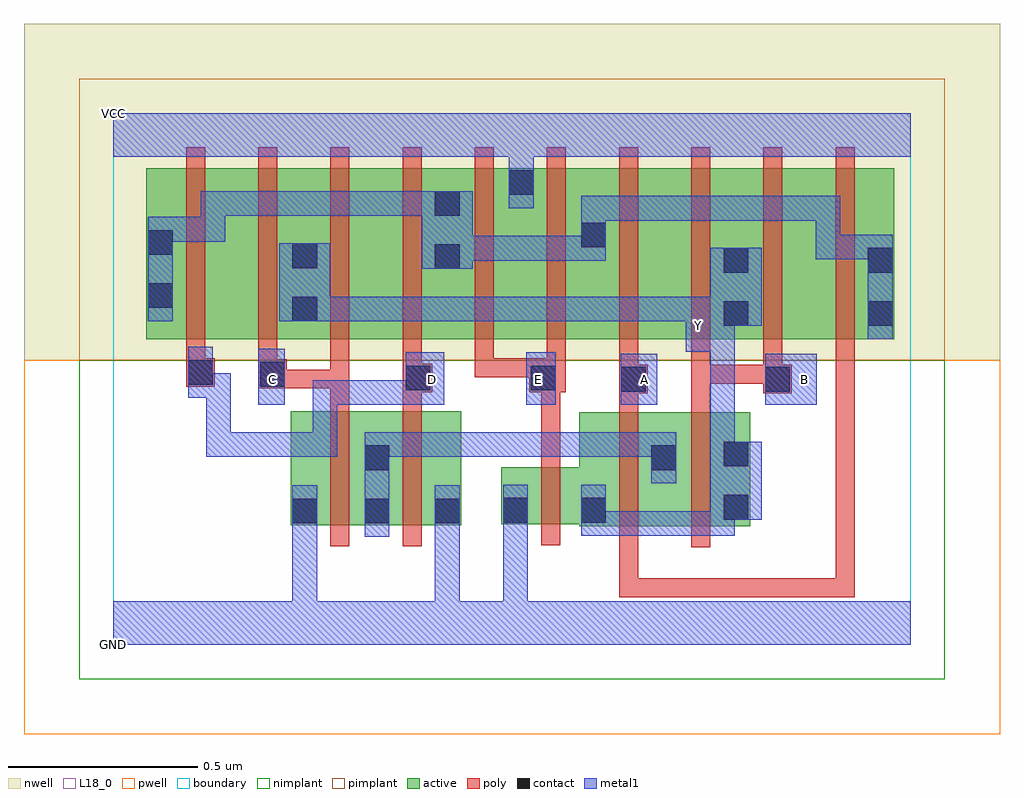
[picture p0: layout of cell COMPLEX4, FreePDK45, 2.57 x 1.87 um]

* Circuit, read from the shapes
.subckt COMPLEX4 A B C D E GND VCC Y
M1 n1 C GND VSUBS nfet w=0.3u l=0.05u
M2 GND D n1 VSUBS nfet w=0.3u l=0.05u
M3 Y E GND VSUBS nfet w=0.15u l=0.05u
M4 n1 A Y VSUBS nfet w=0.3u l=0.05u
M5 Y B n1 VSUBS nfet w=0.3u l=0.05u
M6 n2 D n3 n4 pfet w=0.45u l=0.05u
M7 Y C n2 n4 pfet w=0.45u l=0.05u
M8 n5 C Y n4 pfet w=0.45u l=0.05u
M9 n3 D n5 n4 pfet w=0.45u l=0.05u
M10 VCC E n3 n4 pfet w=0.45u l=0.05u m=2
M11 n6 A n3 n4 pfet w=0.45u l=0.05u
M12 Y B n6 n4 pfet w=0.45u l=0.05u
M13 n7 B Y n4 pfet w=0.45u l=0.05u
M14 n3 A n7 n4 pfet w=0.45u l=0.05u
.ends

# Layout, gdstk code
import gdstk
lib = gdstk.Library(unit=1e-6, precision=1e-09)
def R(c, l, rs):  # rectangles x0, y0, x1, y1
    for r in rs: c.add(gdstk.rectangle(r[:2], r[2:], *l))
def A(c, l, x, y, w, h, nx, ny, dx, dy):  # array of equal rectangles
    R(c, l, [(x+i*dx, y+j*dy, x+i*dx+w, y+j*dy+h) for i in range(nx) for j in range(ny)])
active = (1, 0)
pwell = (2, 0)
nwell = (3, 0)
nimplant = (4, 0)
pimplant = (5, 0)
poly = (9, 0)
contact = (10, 0)
metal1 = (11, 0)
L18_0 = (18, 0)
boundary = (235, 0)

complex4 = lib.new_cell('COMPLEX4')
R(complex4, active, [(1.227,0.312,1.487,0.612), (1.227,0.312,1.302,0.392), (1.412,0.312,1.677,0.612), (1.602,0.312,1.677,0.612), (0.467,0.315,0.542,0.615), (0.467,0.315,0.732,0.615), (0.657,0.315,0.917,0.615), (0.657,0.315,0.732,0.53), (0.842,0.315,0.917,0.547), (1.022,0.317,1.302,0.467), (1.022,0.317,1.097,0.392), (1.412,0.382,1.487,0.53), (0.087,0.805,0.312,1.255), (0.087,0.805,0.192,1.2), (0.312,0.805,0.542,1.255), (0.467,0.805,0.692,1.255), (0.467,0.805,0.542,1.07), (0.692,0.805,0.917,1.255), (0.842,0.805,1.112,1.255), (1.037,0.805,1.302,1.255), (1.227,0.805,1.452,1.255), (1.452,0.805,1.677,1.255), (1.602,0.805,1.832,1.255), (1.602,0.805,1.677,1.07), (1.832,0.805,2.057,1.255), (1.982,0.805,2.057,1.2), (1.227,0.817,1.302,1.2), (0.842,0.857,0.917,1.2), (1.037,0.857,1.112,1.255)])
R(complex4, pwell, [(-0.235,-0.235,2.335,0.75)])
R(complex4, nwell, [(-0.235,0.75,2.335,1.635)])
R(complex4, nimplant, [(-0.09,-0.09,2.19,0.75)])
R(complex4, pimplant, [(-0.09,0.75,2.19,1.49)])
A(complex4, poly, 1.332, 0.687, 0.05, 0.113, 3, 1, 0.19, 0)
A(complex4, poly, 0.192, 0.75, 0.05, 0.56, 10, 1, 0.19, 0)
R(complex4, poly, [(1.332,0.125,1.382,0.175), (1.332,0.125,1.382,0.175), (1.332,0.125,1.382,0.175), (1.332,0.125,1.63,0.175), (1.332,0.125,1.382,0.307), (1.58,0.125,1.63,0.175), (1.58,0.125,1.63,0.175), (1.58,0.125,1.63,0.175), (1.58,0.125,1.82,0.175), (1.77,0.125,1.82,0.175), (1.77,0.125,1.82,0.175), (1.77,0.125,1.82,0.175), (1.77,0.125,1.82,0.175), (1.77,0.125,1.82,0.175), (1.77,0.125,1.952,0.175), (1.902,0.125,1.952,0.8), (1.902,0.125,1.952,0.175), (1.902,0.125,1.952,0.175), (1.902,0.125,1.952,0.175), (1.902,0.125,1.952,0.175), (1.902,0.125,1.952,0.175), (1.902,0.125,1.952,0.175), (1.902,0.125,1.952,0.175), (1.332,0.257,1.382,0.667), (1.522,0.257,1.572,0.667), (0.572,0.26,0.622,0.67), (0.762,0.26,0.812,0.67), (1.127,0.262,1.177,0.522), (1.127,0.472,1.177,0.715), (1.332,0.617,1.382,0.712), (1.522,0.617,1.572,0.737), (0.572,0.62,0.622,0.725), (0.762,0.62,0.812,0.715), (1.332,0.662,1.407,0.737), (1.712,0.662,1.787,0.737), (0.762,0.665,0.84,0.74), (1.095,0.665,1.192,0.755), (0.382,0.675,0.457,0.752), (0.407,0.675,0.622,0.725), (0.572,0.675,0.622,0.725), (0.572,0.675,0.622,0.725), (0.572,0.675,0.622,0.725), (0.572,0.675,0.622,0.8), (0.192,0.68,0.267,0.755), (1.522,0.687,1.572,0.737), (1.522,0.687,1.572,0.737), (1.522,0.687,1.572,0.737), (1.522,0.687,1.762,0.737), (0.762,0.69,0.812,0.8), (0.382,0.702,0.432,0.8), (0.192,0.705,0.242,0.8), (0.952,0.705,1.002,0.755), (0.952,0.705,1.002,0.755), (0.952,0.705,1.002,0.755), (0.952,0.705,1.002,0.8), (0.952,0.705,1.145,0.755), (1.142,0.705,1.192,0.8)])
R(complex4, contact, [(0.472,0.32,0.537,0.385), (0.662,0.32,0.727,0.385), (0.847,0.32,0.912,0.385), (1.027,0.322,1.092,0.387), (1.232,0.322,1.297,0.387), (1.607,0.33,1.672,0.395), (0.662,0.46,0.727,0.525), (1.417,0.46,1.482,0.525), (1.607,0.47,1.672,0.535), (1.337,0.667,1.402,0.732), (1.717,0.667,1.782,0.732), (0.77,0.67,0.835,0.735), (1.1,0.67,1.165,0.735), (0.387,0.68,0.452,0.745), (0.197,0.685,0.262,0.75), (1.607,0.84,1.672,0.905), (1.987,0.84,2.052,0.905), (0.472,0.852,0.537,0.917), (0.092,0.887,0.157,0.952), (1.607,0.98,1.672,1.045), (1.987,0.98,2.052,1.045), (0.847,0.99,0.912,1.055), (0.472,0.992,0.537,1.057), (0.092,1.027,0.157,1.092), (1.232,1.047,1.297,1.112), (0.847,1.13,0.912,1.195), (1.042,1.185,1.107,1.25)])
R(complex4, metal1, [(0,0,2.1,0.115), (0.472,0.05,0.537,0.35), (0.847,0.05,0.912,0.35), (1.027,0.05,1.092,0.115), (1.027,0.05,1.092,0.115), (1.027,0.05,1.092,0.352), (0.472,0.285,0.537,0.35), (0.472,0.285,0.537,0.35), (0.472,0.285,0.537,0.35), (0.472,0.285,0.537,0.35), (0.472,0.285,0.537,0.42), (0.662,0.285,0.727,0.56), (0.847,0.285,0.912,0.35), (0.847,0.285,0.912,0.35), (0.847,0.285,0.912,0.35), (0.847,0.285,0.912,0.35), (0.847,0.285,0.912,0.42), (1.027,0.287,1.092,0.352), (1.027,0.287,1.092,0.352), (1.027,0.287,1.092,0.352), (1.027,0.287,1.092,0.352), (1.027,0.287,1.092,0.422), (1.232,0.287,1.297,0.352), (1.232,0.287,1.297,0.352), (1.232,0.287,1.435,0.352), (1.232,0.287,1.297,0.422), (1.37,0.287,1.435,0.352), (1.37,0.287,1.637,0.352), (1.572,0.287,1.637,0.352), (1.572,0.287,1.637,0.352), (1.572,0.287,1.637,0.352), (1.572,0.287,1.637,0.395), (1.572,0.33,1.707,0.535), (1.417,0.425,1.482,0.56), (1.572,0.47,1.637,0.837), (0.245,0.495,0.31,0.56), (0.245,0.495,0.452,0.56), (0.245,0.495,0.31,0.715), (0.387,0.495,0.452,0.56), (0.387,0.495,0.59,0.56), (0.525,0.495,0.59,0.56), (0.525,0.495,0.59,0.697), (0.662,0.495,0.727,0.56), (0.662,0.495,0.727,0.56), (0.662,0.495,0.947,0.56), (0.882,0.495,0.947,0.56), (0.882,0.495,0.947,0.56), (0.882,0.495,0.947,0.56), (0.882,0.495,1.085,0.56), (1.02,0.495,1.085,0.56), (1.02,0.495,1.085,0.56), (1.02,0.495,1.085,0.56), (1.02,0.495,1.297,0.56), (1.232,0.495,1.297,0.56), (1.232,0.495,1.297,0.56), (1.232,0.495,1.297,0.56), (1.232,0.495,1.482,0.56), (0.382,0.632,0.452,0.78), (0.525,0.632,0.59,0.697), (0.525,0.632,0.59,0.697), (0.525,0.632,0.59,0.697), (0.525,0.632,0.727,0.697), (0.662,0.632,0.727,0.697), (0.662,0.632,0.835,0.697), (0.77,0.632,0.872,0.77), (1.087,0.632,1.165,0.77), (1.337,0.632,1.432,0.767), (1.717,0.632,1.852,0.767), (0.197,0.65,0.262,0.785), (0.197,0.65,0.31,0.715), (0.245,0.65,0.31,0.715), (1.507,0.772,1.637,0.907), (1.987,0.805,2.052,1.08), (1.572,0.84,1.637,0.905), (1.572,0.84,1.707,1.045), (0.092,0.852,0.157,1.127), (0.437,0.852,0.572,1.057), (0.507,0.852,0.59,0.917), (0.525,0.852,0.59,0.917), (0.525,0.852,0.727,0.917), (0.662,0.852,0.727,0.917), (0.662,0.852,0.81,0.917), (0.745,0.852,0.81,0.917), (0.745,0.852,0.947,0.917), (0.882,0.852,0.947,0.917), (0.882,0.852,0.947,0.917), (0.882,0.852,0.947,0.917), (0.882,0.852,1.085,0.917), (1.02,0.852,1.085,0.917), (1.02,0.852,1.085,0.917), (1.02,0.852,1.085,0.917), (1.02,0.852,1.297,0.917), (1.232,0.852,1.297,0.917), (1.232,0.852,1.297,0.917), (1.232,0.852,1.297,0.917), (1.232,0.852,1.435,0.917), (1.37,0.852,1.435,0.917), (1.37,0.852,1.637,0.917), (1.572,0.852,1.637,0.917), (1.572,0.852,1.637,0.917), (0.812,0.99,0.947,1.195), (0.882,1.012,0.947,1.077), (0.882,1.012,0.947,1.077), (0.882,1.012,1.085,1.077), (1.02,1.012,1.085,1.077), (1.02,1.012,1.085,1.077), (1.02,1.012,1.085,1.077), (1.02,1.012,1.297,1.077), (1.232,1.012,1.297,1.147), (1.85,1.015,1.915,1.08), (1.85,1.015,2.052,1.08), (1.85,1.015,1.915,1.182), (1.987,1.015,2.052,1.08), (1.987,1.015,2.052,1.08), (0.092,1.062,0.157,1.127), (0.092,1.062,0.157,1.127), (0.092,1.062,0.295,1.127), (0.23,1.062,0.295,1.127), (0.23,1.062,0.295,1.195), (1.232,1.082,1.297,1.147), (1.232,1.082,1.297,1.182), (1.232,1.117,1.435,1.182), (1.37,1.117,1.435,1.182), (1.37,1.117,1.435,1.182), (1.37,1.117,1.435,1.182), (1.37,1.117,1.61,1.182), (1.545,1.117,1.61,1.182), (1.545,1.117,1.915,1.182), (1.85,1.117,1.915,1.182), (1.85,1.117,1.915,1.182), (1.85,1.117,1.915,1.182), (0.23,1.13,0.295,1.195), (0.23,1.13,0.447,1.195), (0.382,1.13,0.447,1.195), (0.382,1.13,0.447,1.195), (0.382,1.13,0.447,1.195), (0.382,1.13,0.59,1.195), (0.525,1.13,0.59,1.195), (0.525,1.13,0.727,1.195), (0.662,1.13,0.727,1.195), (0.662,1.13,0.727,1.195), (0.662,1.13,0.727,1.195), (0.662,1.13,0.877,1.195), (1.042,1.15,1.107,1.285), (1.042,1.22,1.107,1.35), (0,1.285,2.1,1.4)])
A(complex4, L18_0, 0.807, 0.667, 0.065, 0.065, 3, 1, 0.28, 0)
R(complex4, L18_0, [(0,0,2.1,0.115), (0.472,0.05,0.537,0.35), (0.847,0.05,0.912,0.35), (1.027,0.05,1.092,0.115), (1.027,0.05,1.092,0.115), (1.027,0.05,1.092,0.352), (0.472,0.285,0.537,0.42), (0.472,0.285,0.537,0.35), (0.472,0.285,0.537,0.35), (0.472,0.285,0.537,0.35), (0.472,0.285,0.537,0.35), (0.847,0.285,0.912,0.42), (0.847,0.285,0.912,0.35), (0.847,0.285,0.912,0.35), (0.847,0.285,0.912,0.35), (0.847,0.285,0.912,0.35), (1.027,0.287,1.092,0.422), (1.027,0.287,1.092,0.352), (1.027,0.287,1.092,0.352), (1.027,0.287,1.092,0.352), (1.027,0.287,1.092,0.352), (1.232,0.287,1.297,0.422), (1.232,0.287,1.297,0.352), (1.232,0.287,1.297,0.352), (1.232,0.287,1.435,0.352), (1.37,0.287,1.435,0.352), (1.37,0.287,1.637,0.352), (1.572,0.287,1.637,0.352), (1.572,0.287,1.637,0.352), (1.572,0.287,1.637,0.352), (1.572,0.287,1.637,0.395), (1.572,0.33,1.707,0.535), (1.572,0.47,1.637,0.837), (0.245,0.495,0.31,0.56), (0.245,0.495,0.31,0.715), (0.245,0.495,0.452,0.56), (0.387,0.495,0.452,0.56), (0.387,0.495,0.59,0.56), (0.525,0.495,0.59,0.56), (0.525,0.495,0.59,0.697), (0.382,0.632,0.452,0.78), (0.525,0.632,0.59,0.697), (0.525,0.632,0.59,0.697), (0.525,0.632,0.59,0.697), (0.525,0.632,0.727,0.697), (0.662,0.632,0.727,0.697), (0.662,0.632,0.835,0.697), (0.77,0.632,0.872,0.77), (1.087,0.632,1.165,0.77), (1.337,0.632,1.432,0.767), (1.717,0.632,1.852,0.767), (0.197,0.65,0.262,0.785), (0.197,0.65,0.31,0.715), (0.245,0.65,0.31,0.715), (0.387,0.667,0.452,0.732), (1.787,0.667,1.852,0.732), (1.507,0.772,1.637,0.907), (1.507,0.807,1.572,0.872), (1.572,0.84,1.637,0.905), (1.572,0.84,1.707,1.045), (0.437,0.852,0.572,1.057), (0.507,0.852,0.59,0.917), (0.525,0.852,0.59,0.917), (0.525,0.852,0.727,0.917), (0.662,0.852,0.727,0.917), (0.662,0.852,0.81,0.917), (0.745,0.852,0.81,0.917), (0.745,0.852,0.947,0.917), (0.882,0.852,0.947,0.917), (0.882,0.852,0.947,0.917), (0.882,0.852,0.947,0.917), (0.882,0.852,1.085,0.917), (1.02,0.852,1.085,0.917), (1.02,0.852,1.085,0.917), (1.02,0.852,1.085,0.917), (1.02,0.852,1.297,0.917), (1.232,0.852,1.297,0.917), (1.232,0.852,1.297,0.917), (1.232,0.852,1.297,0.917), (1.232,0.852,1.435,0.917), (1.37,0.852,1.435,0.917), (1.37,0.852,1.637,0.917), (1.572,0.852,1.637,0.917), (1.572,0.852,1.637,0.917), (1.042,1.15,1.107,1.285), (1.042,1.22,1.107,1.35), (0,1.285,2.1,1.4)])
R(complex4, boundary, [(0,0,2.1,1.4)])
complex4.add(gdstk.Label('A', (1.4,0.7), layer=11, texttype=0))
complex4.add(gdstk.Label('B', (1.82,0.7), layer=11, texttype=0))
complex4.add(gdstk.Label('C', (0.42,0.7), layer=11, texttype=0))
complex4.add(gdstk.Label('D', (0.84,0.7), layer=11, texttype=0))
complex4.add(gdstk.Label('E', (1.12,0.7), layer=11, texttype=0))
complex4.add(gdstk.Label('Y', (1.54,0.84), layer=11, texttype=0))
complex4.add(gdstk.Label('VCC', (0,1.4), layer=11, texttype=0))
complex4.add(gdstk.Label('GND', (0,0), layer=11, texttype=0))

lib.write_gds('COMPLEX4.gds')
